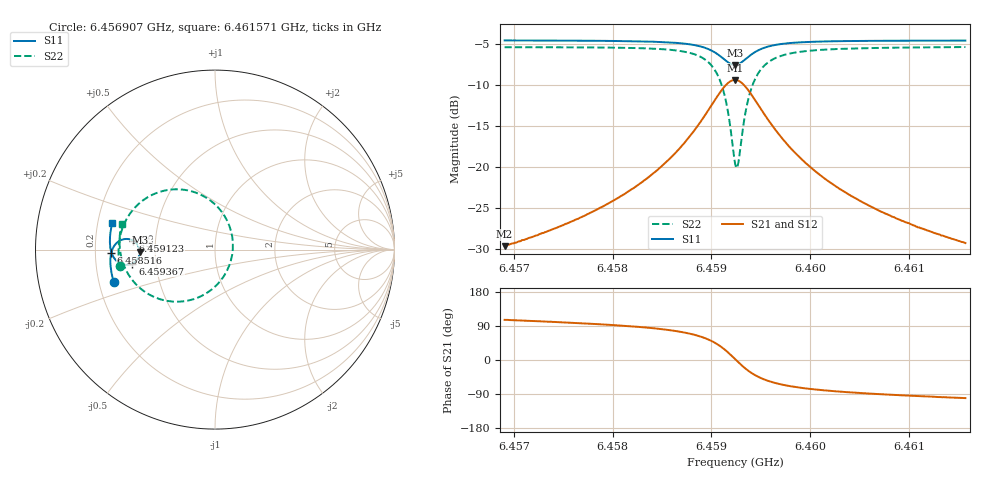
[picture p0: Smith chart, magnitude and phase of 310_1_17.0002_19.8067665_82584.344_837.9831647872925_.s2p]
#  HZ  S  RI  R  50.00
! Rohde & Schwarz Vector Network Analyzer
! Rohde-Schwarz,ZNB20-2Port,1311601062101988,3.16
! Created: UTC 3/20/2024, 11:05:58 PM
! freq[Hz]  re:S11  im:S11  re:S21  im:S21  re:S12  im:S12  re:S22  im:S22
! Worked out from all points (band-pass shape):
!   401 points, 6.456907 GHz to 6.461571 GHz, reference 50 ohm
!   highest |S21| = -9.36 dB at 6.459239 GHz (marker M1); lowest = -29.6 dB at 6.456907 GHz (marker M2)
!   |S21| within 3 dB of the highest: 6.459006 GHz to 6.459472 GHz (465.8 kHz wide, 0.00721 % of centre)
!   lowest |S11| = -7.5 dB at 6.459239 GHz (marker M3), VSWR 2.45, Z = 20.4 - j0.635 ohm
!   |S11| at or under -10 dB: nowhere
!   |S22| runs from -20.1 to -5.4 dB; largest |S21 - S12| = 0.013
!   S11 on the Smith chart (normalised r, x): 6.456907 GHz: 0.26, -0.14; 6.458516 GHz: 0.27, -0.02; 6.459123 GHz: 0.37, +0.05; 6.459367 GHz: 0.37, -0.07; 6.461571 GHz: 0.26, +0.12
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6.456907e9  -0.5647 -0.1778  -0.00905 0.0318  -0.00739 0.0318  -0.5309 -0.0898
6.4576883e9  -0.5797 -0.1099  -0.00593 0.0495  -0.00345 0.049  -0.5371 0.000254
6.4581197e9  -0.583 -0.0669  -0.000247 0.0686  0.00309 0.0674  -0.5298 0.0673
6.4584696e9  -0.5797 -0.0254  0.0132 0.0974  0.0173 0.0946  -0.5053 0.1446
6.4585162e9  -0.5783 -0.0191  0.0166 0.1026  0.0206 0.0997  -0.4992 0.1576
6.4587261e9  -0.5664 0.0128  0.0422 0.1341  0.0464 0.1294  -0.4513 0.2284
6.4588777e9  -0.5455 0.0393  0.084 0.1642  0.0875 0.1577  -0.3744 0.2923
6.4590293e9  -0.4998 0.0592  0.1748 0.1832  0.1759 0.1759  -0.2094 0.336
6.4591226e9  -0.4555 0.0494  0.2637 0.1529  0.264 0.1469  -0.0457 0.2872
6.4591692e9  -0.4344 0.0308  0.307 0.1108  0.3082 0.1054  0.0359 0.2126
6.4592392e9  -0.4196 -0.0128  0.3401 0.0153  0.3435 0.00823  0.0996 0.0361
6.4592508e9  -0.42 -0.0207  0.3399 -0.0023  0.3435 -0.01  0.0993 0.00331
6.4592742e9  -0.4235 -0.0362  0.3346 -0.0364  0.338 -0.0455  0.0884 -0.0611
6.4593325e9  -0.444 -0.067  0.2969 -0.1077  0.2982 -0.1197  0.0127 -0.1942
6.4593675e9  -0.4606 -0.0781  0.2651 -0.1361  0.2641 -0.1492  -0.0511 -0.2452
6.4594607e9  -0.5036 -0.0849  0.1817 -0.1669  0.1756 -0.1782  -0.2163 -0.2905
6.4596123e9  -0.547 -0.0644  0.0952 -0.1537  0.0868 -0.1598  -0.3803 -0.2422
6.4597756e9  -0.5683 -0.0368  0.051 -0.1264  0.0436 -0.1292  -0.4591 -0.1715
6.4600205e9  -0.5811 -0.0012  0.0223 -0.0955  0.0166 -0.0961  -0.5064 -0.0905
6.4603586e9  -0.5857 0.0387  0.00672 -0.0698  0.0026 -0.0694  -0.5271 -0.0144
6.4608017e9  -0.5838 0.0831  -0.00137 -0.051  -0.00409 -0.0502  -0.5316 0.0554
6.4615714e9  -0.5716 0.151  -0.00632 -0.034  -0.00807 -0.0331  -0.5201 0.1451
